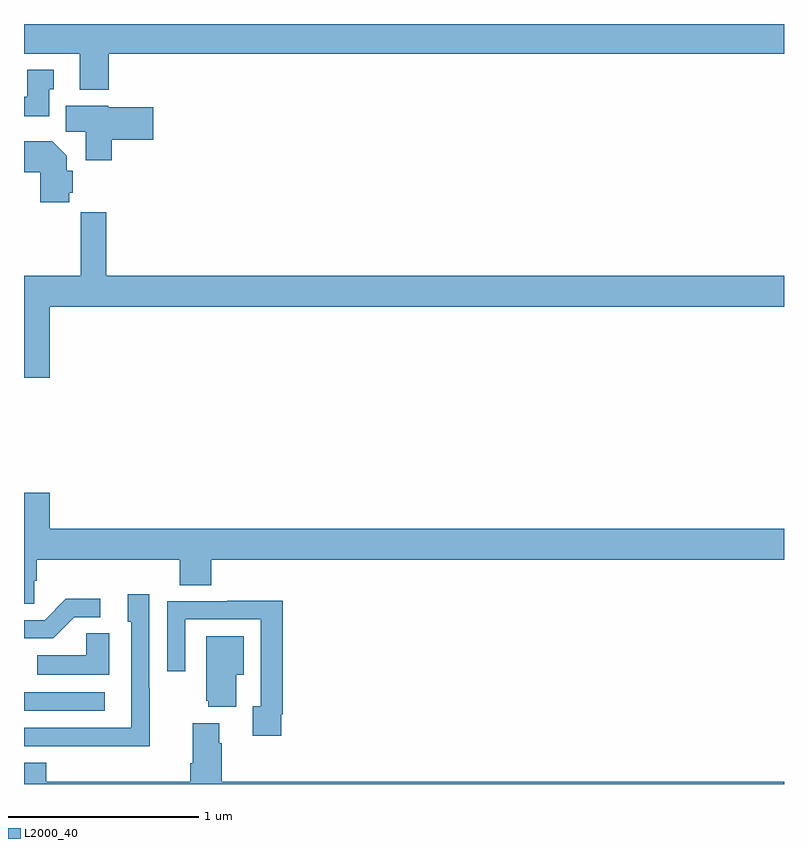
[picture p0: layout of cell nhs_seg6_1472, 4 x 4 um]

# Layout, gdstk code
import gdstk
lib = gdstk.Library(unit=1e-6, precision=1e-09)
def R(c, l, rs):  # rectangles x0, y0, x1, y1
    for r in rs: c.add(gdstk.rectangle(r[:2], r[2:], *l))
def P(c, l, *ps):  # polygons
    for p in ps: c.add(gdstk.Polygon(p, *l))
L2000_40 = (2000, 40)

nhs_seg6_1472 = lib.new_cell('nhs_seg6_1472')
R(nhs_seg6_1472, L2000_40, [(201,935.886,201.424,935.982)])
P(nhs_seg6_1472, L2000_40, [(205,939.5),(201,939.5),(201,939.344),(201.293,939.344),(201.293,939.155),(201.446,939.155),(201.446,939.344),(205,939.344)],
  [(201.133,939.156),(201.157,939.156),(201.157,939.259),(201.017,939.259),(201.017,939.118),(201,939.118),(201,939.014),(201.133,939.014)],
  [(201.461,938.891),(201.679,938.891),(201.679,939.061),(201.444,939.061),(201.444,939.07),(201.221,939.07),(201.221,938.932),(201.326,938.932),(201.326,938.784),(201.461,938.784)],
  [(201.238,938.613),(201.257,938.613),(201.257,938.727),(201.226,938.727),(201.226,938.806),(201.148,938.884),(201,938.884),(201,938.72),(201.086,938.72),(201.086,938.563),(201.238,938.563)],
  [(201.136,938.012),(205,938.012),(205,938.176),(201.434,938.176),(201.434,938.509),(201.298,938.509),(201.298,938.176),(201,938.176),(201,937.638),(201.136,937.638)],
  [(201.054,936.571),(201.068,936.571),(201.068,936.68),(201.821,936.68),(201.821,936.547),(201.986,936.547),(201.986,936.68),(205,936.68),(205,936.844),(201.136,936.844),(201.136,937.033),(201,937.033),(201,936.448),(201.054,936.448)],
  [(201.663,936.005),(201.66,936.005),(201.66,936.499),(201.545,936.499),(201.545,936.354),(201.564,936.354),(201.564,935.796),(201,935.796),(201,935.7),(201.199,935.7),(201.199,935.699),(201.663,935.699)],
  [(201.265,936.378),(201.4,936.378),(201.4,936.476),(201.221,936.476),(201.108,936.363),(201,936.363),(201,936.267),(201.154,936.267)],
  [(202.354,935.866),(202.361,935.866),(202.361,936.464),(202.069,936.464),(202.069,936.462),(201.753,936.462),(201.753,936.093),(201.849,936.093),(201.849,936.366),(202.245,936.366),(202.245,935.91),(202.205,935.91),(202.205,935.754),(202.354,935.754)],
  [(201.448,936.293),(201.327,936.293),(201.327,936.178),(201.07,936.178),(201.07,936.074),(201.448,936.074)],
  [(202.117,936.074),(202.156,936.074),(202.156,936.277),(201.959,936.277),(201.959,935.937),(201.971,935.937),(201.971,935.906),(202.117,935.906)],
  [(205,935.512),(202.04,935.512),(202.04,935.714),(202.027,935.714),(202.027,935.821),(201.887,935.821),(201.887,935.608),(201.875,935.608),(201.875,935.512),(201.116,935.512),(201.116,935.611),(201,935.611),(201,935.5),(205,935.5)])

lib.write_gds('nhs_seg6_1472.gds')
